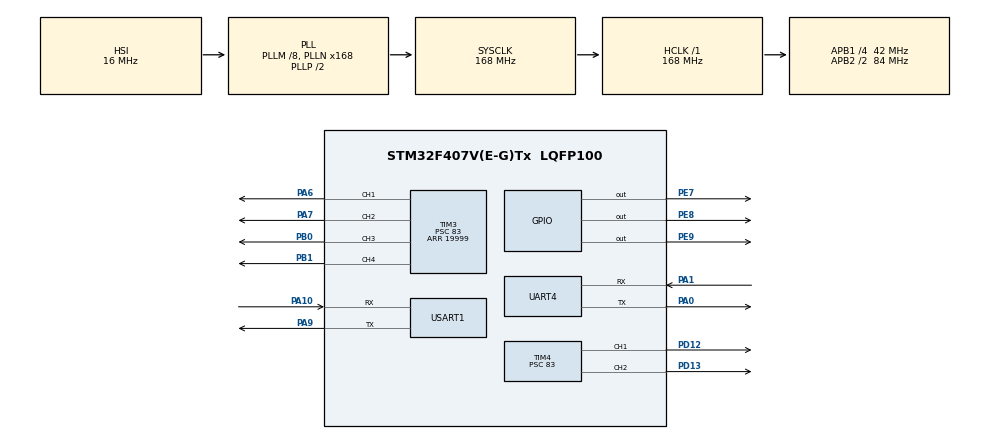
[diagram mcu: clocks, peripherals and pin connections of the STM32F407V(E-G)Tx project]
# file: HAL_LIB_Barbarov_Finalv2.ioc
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Mcu.Family=STM32F4
Mcu.Name=STM32F407V(E-G)Tx
Mcu.Package=LQFP100
NVIC.PriorityGroup=NVIC_PRIORITYGROUP_4
NVIC.UART4_IRQn=true\:0\:0\:false\:false\:true\:true\:true
NVIC.USART1_IRQn=true\:0\:0\:false\:false\:true\:true\:true
PA0-WKUP.Mode=Asynchronous
PA0-WKUP.Signal=UART4_TX
PA1.Mode=Asynchronous
PA1.Signal=UART4_RX
PA10.Mode=Asynchronous
PA10.Signal=USART1_RX
PA6.Signal=S_TIM3_CH1
PA7.Signal=S_TIM3_CH2
PA9.Mode=Asynchronous
PA9.Signal=USART1_TX
PB0.Signal=S_TIM3_CH3
PB1.Signal=S_TIM3_CH4
PD12.Signal=S_TIM4_CH1
PD13.Signal=S_TIM4_CH2
PE7.Signal=GPIO_Output
PE8.Signal=GPIO_Output
PE9.Signal=GPIO_Output
ProjectManager.HeapSize=0x200
ProjectManager.StackSize=0x400
ProjectManager.TargetToolchain=STM32CubeIDE
RCC.48MHZClocksFreq_Value=84000000
RCC.AHBFreq_Value=168000000
RCC.APB1CLKDivider=RCC_HCLK_DIV4
RCC.APB1Freq_Value=42000000
RCC.APB1TimFreq_Value=84000000
RCC.APB2CLKDivider=RCC_HCLK_DIV2
RCC.APB2Freq_Value=84000000
RCC.APB2TimFreq_Value=168000000
RCC.CortexFreq_Value=168000000
RCC.HCLKFreq_Value=168000000
RCC.HSE_VALUE=25000000
RCC.HSI_VALUE=16000000
RCC.LSE_VALUE=32768
RCC.PLLM=8
RCC.PLLN=168
RCC.SYSCLKFreq_VALUE=168000000
RCC.SYSCLKSource=RCC_SYSCLKSOURCE_PLLCLK
RCC.VCOOutputFreq_Value=336000000
SH.S_TIM3_CH1.0=TIM3_CH1,PWM Generation1 CH1
SH.S_TIM3_CH2.0=TIM3_CH2,PWM Generation2 CH2
SH.S_TIM3_CH3.0=TIM3_CH3,PWM Generation3 CH3
SH.S_TIM3_CH4.0=TIM3_CH4,PWM Generation4 CH4
SH.S_TIM4_CH1.0=TIM4_CH1,PWM Generation1 CH1
SH.S_TIM4_CH2.0=TIM4_CH2,PWM Generation2 CH2
TIM3.Channel-PWM\ Generation1\ CH1=TIM_CHANNEL_1
TIM3.Channel-PWM\ Generation2\ CH2=TIM_CHANNEL_2
TIM3.Channel-PWM\ Generation3\ CH3=TIM_CHANNEL_3
TIM3.Channel-PWM\ Generation4\ CH4=TIM_CHANNEL_4
TIM3.Period=19999
TIM3.Prescaler=83
TIM4.Channel-PWM\ Generation1\ CH1=TIM_CHANNEL_1
TIM4.Channel-PWM\ Generation2\ CH2=TIM_CHANNEL_2
TIM4.Period=19999
TIM4.Prescaler=83
UART4.VirtualMode=Asynchronous
USART1.VirtualMode=VM_ASYNC
board=custom

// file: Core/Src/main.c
/* USER CODE BEGIN Header */
/**
  ******************************************************************************
  * @file           : main.c
  * @brief          : Main program body
  ******************************************************************************
  * @attention
  *
  * Copyright (c) 2022 STMicroelectronics.
  * All rights reserved.
  *
  * This software is licensed under terms that can be found in the LICENSE file
  * in the root directory of this software component.
  * If no LICENSE file comes with this software, it is provided AS-IS.
  *
  ******************************************************************************
  */
/* USER CODE END Header */
#include "main.h"

/* USER CODE BEGIN Includes */
#include "stdlib.h"
#include "string.h"
/* USER CODE END Includes */

TIM_HandleTypeDef htim3;
TIM_HandleTypeDef htim4;

UART_HandleTypeDef huart4;
UART_HandleTypeDef huart1;

/* USER CODE BEGIN PV */
uint8_t test;
int donusum;
char gelen[8];
/* USER CODE END PV */

void SystemClock_Config(void);
static void MX_GPIO_Init(void);
static void MX_TIM3_Init(void);
static void MX_TIM4_Init(void);
static void MX_USART1_UART_Init(void);
static void MX_UART4_Init(void);

/* USER CODE BEGIN 0 */
void dur(){
	__HAL_TIM_SET_COMPARE(&htim3, TIM_CHANNEL_1, 1500);
	__HAL_TIM_SET_COMPARE(&htim3, TIM_CHANNEL_2, 1500);
	__HAL_TIM_SET_COMPARE(&htim3, TIM_CHANNEL_3, 1500);
	__HAL_TIM_SET_COMPARE(&htim3, TIM_CHANNEL_4, 1500);
	__HAL_TIM_SET_COMPARE(&htim4, TIM_CHANNEL_1, 1500);
	__HAL_TIM_SET_COMPARE(&htim4, TIM_CHANNEL_2, 1500);
	}
void ilr(){
	donusum = atoi(gelen);
	__HAL_TIM_SET_COMPARE(&htim3, TIM_CHANNEL_1, 1500-abs(1500-donusum));
	__HAL_TIM_SET_COMPARE(&htim3, TIM_CHANNEL_2, donusum);
	__HAL_TIM_SET_COMPARE(&htim3, TIM_CHANNEL_3, 1500-abs(1500-donusum));
	__HAL_TIM_SET_COMPARE(&htim3, TIM_CHANNEL_4, donusum);
	__HAL_TIM_SET_COMPARE(&htim4, TIM_CHANNEL_1, 1550);
	__HAL_TIM_SET_COMPARE(&htim4, TIM_CHANNEL_2, 1550);
}
void ger(){
	donusum = atoi(gelen);
	__HAL_TIM_SET_COMPARE(&htim3, TIM_CHANNEL_1, donusum);
	__HAL_TIM_SET_COMPARE(&htim3, TIM_CHANNEL_2, 1500-abs(1500-donusum));
	__HAL_TIM_SET_COMPARE(&htim3, TIM_CHANNEL_3, donusum);
	__HAL_TIM_SET_COMPARE(&htim3, TIM_CHANNEL_4, 1500-abs(1500-donusum));
	__HAL_TIM_SET_COMPARE(&htim4, TIM_CHANNEL_1, 1550);
	__HAL_TIM_SET_COMPARE(&htim4, TIM_CHANNEL_2, 1550);
}
void ykr(){
	donusum = atoi(gelen);
	__HAL_TIM_SET_COMPARE(&htim3, TIM_CHANNEL_1, 1500);
	__HAL_TIM_SET_COMPARE(&htim3, TIM_CHANNEL_2, 1500);
	__HAL_TIM_SET_COMPARE(&htim3, TIM_CHANNEL_3, 1500);
	__HAL_TIM_SET_COMPARE(&htim3, TIM_CHANNEL_4, 1500);
	__HAL_TIM_SET_COMPARE(&htim4, TIM_CHANNEL_1, 1500-abs(1500-donusum));
	__HAL_TIM_SET_COMPARE(&htim4, TIM_CHANNEL_2, 1500-abs(1500-donusum));
}
void asg(){
	donusum = atoi(gelen);
	__HAL_TIM_SET_COMPARE(&htim3, TIM_CHANNEL_1, 1500);
	__HAL_TIM_SET_COMPARE(&htim3, TIM_CHANNEL_2, 1500);
	__HAL_TIM_SET_COMPARE(&htim3, TIM_CHANNEL_3, 1500);
	__HAL_TIM_SET_COMPARE(&htim3, TIM_CHANNEL_4, 1500);
	__HAL_TIM_SET_COMPARE(&htim4, TIM_CHANNEL_1, donusum);
	__HAL_TIM_SET_COMPARE(&htim4, TIM_CHANNEL_2, donusum);
}
void sag(){
	donusum = atoi(gelen);
	__HAL_TIM_SET_COMPARE(&htim3, TIM_CHANNEL_1, donusum);
	__HAL_TIM_SET_COMPARE(&htim3, TIM_CHANNEL_2, donusum);
	__HAL_TIM_SET_COMPARE(&htim3, TIM_CHANNEL_3, 1500-abs(1500-donusum));
	__HAL_TIM_SET_COMPARE(&htim3, TIM_CHANNEL_4, 1500-abs(1500-donusum));
	__HAL_TIM_SET_COMPARE(&htim4, TIM_CHANNEL_1, 1550);
	__HAL_TIM_SET_COMPARE(&htim4, TIM_CHANNEL_2, 1550);
}
void sol(){
	donusum = atoi(gelen);
	__HAL_TIM_SET_COMPARE(&htim3, TIM_CHANNEL_1, 1500-abs(1500-donusum));
	__HAL_TIM_SET_COMPARE(&htim3, TIM_CHANNEL_2, 1500-abs(1500-donusum));
	__HAL_TIM_SET_COMPARE(&htim3, TIM_CHANNEL_3, donusum);
	__HAL_TIM_SET_COMPARE(&htim3, TIM_CHANNEL_4, donusum);
	__HAL_TIM_SET_COMPARE(&htim4, TIM_CHANNEL_1, 1550);
	__HAL_TIM_SET_COMPARE(&htim4, TIM_CHANNEL_2, 1550);
}
/*
void duz(){	// ileri-geri hareket **ileri >1500
	donusum = atoi(gelen);
	__HAL_TIM_SET_COMPARE(&htim3, TIM_CHANNEL_1, donusum);
	__HAL_TIM_SET_COMPARE(&htim3, TIM_CHANNEL_2, donusum);
	__HAL_TIM_SET_COMPARE(&htim3, TIM_CHANNEL_3, donusum);
	__HAL_TIM_SET_COMPARE(&htim3, TIM_CHANNEL_4, donusum);
	__HAL_TIM_SET_COMPARE(&htim4, TIM_CHANNEL_1, 1500);
	__HAL_TIM_SET_COMPARE(&htim4, TIM_CHANNEL_2, 1500);
	HAL_GPIO_WritePin(GPIOE, GPIO_PIN_7, GPIO_PIN_SET);
	HAL_GPIO_WritePin(GPIOE, GPIO_PIN_8 | GPIO_PIN_9 , GPIO_PIN_RESET);
}
void yty(){	// sag-sol hareket **sag>1500
	donusum = atoi(gelen);
	if (donusum > 1500){
	__HAL_TIM_SET_COMPARE(&htim3, TIM_CHANNEL_2, donusum);
	__HAL_TIM_SET_COMPARE(&htim3, TIM_CHANNEL_3, donusum);
	__HAL_TIM_SET_COMPARE(&htim3, TIM_CHANNEL_1, 1500-abs(1500-donusum));
	__HAL_TIM_SET_COMPARE(&htim3, TIM_CHANNEL_4, 1500-abs(1500-donusum));
	__HAL_TIM_SET_COMPARE(&htim4, TIM_CHANNEL_1, 1500);
	__HAL_TIM_SET_COMPARE(&htim4, TIM_CHANNEL_2, 1500);
	}
	else if(donusum < 1500){
		__HAL_TIM_SET_COMPARE(&htim3, TIM_CHANNEL_1, donusum);
		__HAL_TIM_SET_COMPARE(&htim3, TIM_CHANNEL_4, donusum);
		__HAL_TIM_SET_COMPARE(&htim3, TIM_CHANNEL_2, 1500-abs(1500-donusum));
		__HAL_TIM_SET_COMPARE(&htim3, TIM_CHANNEL_3, 1500-abs(1500-donusum));
		__HAL_TIM_SET_COMPARE(&htim4, TIM_CHANNEL_1, 1500);
		__HAL_TIM_SET_COMPARE(&htim4, TIM_CHANNEL_2, 1500);
	}
	HAL_GPIO_WritePin(GPIOE, GPIO_PIN_8, GPIO_PIN_SET);
	HAL_GPIO_WritePin(GPIOE, GPIO_PIN_7 | GPIO_PIN_9 , GPIO_PIN_RESET);
}
void dky(){	// yukarı-asagi hareket **yukarı>1500
	donusum = atoi(gelen);
	if (donusum > 1500){
		__HAL_TIM_SET_COMPARE(&htim4, TIM_CHANNEL_1, donusum);
		__HAL_TIM_SET_COMPARE(&htim4, TIM_CHANNEL_2, 1500-abs(1500-donusum));
		__HAL_TIM_SET_COMPARE(&htim3, TIM_CHANNEL_1, 1500);
		__HAL_TIM_SET_COMPARE(&htim3, TIM_CHANNEL_2, 1500);
		__HAL_TIM_SET_COMPARE(&htim3, TIM_CHANNEL_3, 1500);
		__HAL_TIM_SET_COMPARE(&htim3, TIM_CHANNEL_4, 1500);
	}
	else if (donusum < 1500){
		__HAL_TIM_SET_COMPARE(&htim4, TIM_CHANNEL_1, 1500-abs(1500-donusum));
		__HAL_TIM_SET_COMPARE(&htim4, TIM_CHANNEL_2, donusum);
		__HAL_TIM_SET_COMPARE(&htim3, TIM_CHANNEL_1, 1500);
		__HAL_TIM_SET_COMPARE(&htim3, TIM_CHANNEL_2, 1500);
		__HAL_TIM_SET_COMPARE(&htim3, TIM_CHANNEL_3, 1500);
		__HAL_TIM_SET_COMPARE(&htim3, TIM_CHANNEL_4, 1500);
	}
	HAL_GPIO_WritePin(GPIOE, GPIO_PIN_9, GPIO_PIN_SET);
	HAL_GPIO_WritePin(GPIOE, GPIO_PIN_7 | GPIO_PIN_8 , GPIO_PIN_RESET);
}*/
/* USER CODE END 0 */

int main(void)
{

  /* MCU Configuration--------------------------------------------------------*/

  /* Reset of all peripherals, Initializes the Flash interface and the Systick. */
  HAL_Init();

  /* Configure the system clock */
  SystemClock_Config();

  /* Initialize all configured peripherals */
  MX_GPIO_Init();
  MX_TIM3_Init();
  MX_TIM4_Init();
  MX_USART1_UART_Init();
  MX_UART4_Init();
  /* USER CODE BEGIN 2 */
  HAL_TIM_PWM_Start(&htim3, TIM_CHANNEL_1);
  HAL_TIM_PWM_Start(&htim3, TIM_CHANNEL_2);
  HAL_TIM_PWM_Start(&htim3, TIM_CHANNEL_3);
  HAL_TIM_PWM_Start(&htim3, TIM_CHANNEL_4);
  HAL_TIM_PWM_Start(&htim4, TIM_CHANNEL_1);
  HAL_TIM_PWM_Start(&htim4, TIM_CHANNEL_2);
  __HAL_TIM_SET_COMPARE(&htim3, TIM_CHANNEL_1, 1500);
  __HAL_TIM_SET_COMPARE(&htim3, TIM_CHANNEL_2, 1500);
  __HAL_TIM_SET_COMPARE(&htim3, TIM_CHANNEL_3, 1500);
  __HAL_TIM_SET_COMPARE(&htim3, TIM_CHANNEL_4, 1500);
  __HAL_TIM_SET_COMPARE(&htim4, TIM_CHANNEL_1, 1500);
  __HAL_TIM_SET_COMPARE(&htim4, TIM_CHANNEL_2, 1500);
  HAL_Delay(7000);
  /* USER CODE END 2 */

  /* Infinite loop */
  while (1)
  {

    /* USER CODE BEGIN 3 */
	  HAL_UART_Receive_IT(&huart1, (uint8_t*) gelen, 8);
	  //HAL_UART_Transmit_IT(&huart4, (uint8_t*) gelen, 8);

	  if(gelen[5] == 'd' && gelen[6] == 'u' && gelen[7] == 'r'){
		  dur();
	  }
	  else if(gelen[5] == 'i' && gelen[6] == 'l' && gelen[7] == 'r') {
		  ilr();
	  }
	  else if(gelen[5] == 'g' && gelen[6] == 'e' && gelen[7] == 'r') {
		  ger();
	  }
	  else if(gelen[5] == 'y' && gelen[6] == 'k' && gelen[7] == 'r') {
		  ykr();
	  }
	  else if(gelen[5] == 'a' && gelen[6] == 's' && gelen[7] == 'g') {
		  asg();
	  }
	  else if(gelen[5] == 's' && gelen[6] == 'a' && gelen[7] == 'g') {
		  sag();
	  }
	  else if(gelen[5] == 's' && gelen[6] == 'o' && gelen[7] == 'l') {
		  sol();
	  }

	/*  else if(gelen[5] == 's' && gelen[6] == 'g' && gelen[7] == 'd') {
		  sgd();
	  }
	  else if(gelen[5] == 's' && gelen[6] == 'l' && gelen[7] == 'd') {
		  sld();
	  }*/
  }
  /* USER CODE END 3 */
}

void SystemClock_Config(void)
{
  RCC_OscInitTypeDef RCC_OscInitStruct = {0};
  RCC_ClkInitTypeDef RCC_ClkInitStruct = {0};

  /** Configure the main internal regulator output voltage
  */
  __HAL_RCC_PWR_CLK_ENABLE();
  __HAL_PWR_VOLTAGESCALING_CONFIG(PWR_REGULATOR_VOLTAGE_SCALE1);
  /** Initializes the RCC Oscillators according to the specified parameters
  * in the RCC_OscInitTypeDef structure.
  */
  RCC_OscInitStruct.OscillatorType = RCC_OSCILLATORTYPE_HSI;
  RCC_OscInitStruct.HSIState = RCC_HSI_ON;
  RCC_OscInitStruct.HSICalibrationValue = RCC_HSICALIBRATION_DEFAULT;
  RCC_OscInitStruct.PLL.PLLState = RCC_PLL_ON;
  RCC_OscInitStruct.PLL.PLLSource = RCC_PLLSOURCE_HSI;
  RCC_OscInitStruct.PLL.PLLM = 8;
  RCC_OscInitStruct.PLL.PLLN = 168;
  RCC_OscInitStruct.PLL.PLLP = RCC_PLLP_DIV2;
  RCC_OscInitStruct.PLL.PLLQ = 4;
  if (HAL_RCC_OscConfig(&RCC_OscInitStruct) != HAL_OK)
  {
    Error_Handler();
  }
  /** Initializes the CPU, AHB and APB buses clocks
  */
  RCC_ClkInitStruct.ClockType = RCC_CLOCKTYPE_HCLK|RCC_CLOCKTYPE_SYSCLK
                              |RCC_CLOCKTYPE_PCLK1|RCC_CLOCKTYPE_PCLK2;
  RCC_ClkInitStruct.SYSCLKSource = RCC_SYSCLKSOURCE_PLLCLK;
  RCC_ClkInitStruct.AHBCLKDivider = RCC_SYSCLK_DIV1;
  RCC_ClkInitStruct.APB1CLKDivider = RCC_HCLK_DIV4;
  RCC_ClkInitStruct.APB2CLKDivider = RCC_HCLK_DIV2;

  if (HAL_RCC_ClockConfig(&RCC_ClkInitStruct, FLASH_LATENCY_5) != HAL_OK)
  {
    Error_Handler();
  }
}

static void MX_TIM3_Init(void)
{

  TIM_MasterConfigTypeDef sMasterConfig = {0};
  TIM_OC_InitTypeDef sConfigOC = {0};

  htim3.Instance = TIM3;
  htim3.Init.Prescaler = 83;
  htim3.Init.CounterMode = TIM_COUNTERMODE_UP;
  htim3.Init.Period = 19999;
  htim3.Init.ClockDivision = TIM_CLOCKDIVISION_DIV1;
  htim3.Init.AutoReloadPreload = TIM_AUTORELOAD_PRELOAD_DISABLE;
  if (HAL_TIM_PWM_Init(&htim3) != HAL_OK)
  {
    Error_Handler();
  }
  sMasterConfig.MasterOutputTrigger = TIM_TRGO_RESET;
  sMasterConfig.MasterSlaveMode = TIM_MASTERSLAVEMODE_DISABLE;
  if (HAL_TIMEx_MasterConfigSynchronization(&htim3, &sMasterConfig) != HAL_OK)
  {
    Error_Handler();
  }
  sConfigOC.OCMode = TIM_OCMODE_PWM1;
  sConfigOC.Pulse = 0;
  sConfigOC.OCPolarity = TIM_OCPOLARITY_HIGH;
  sConfigOC.OCFastMode = TIM_OCFAST_DISABLE;
  if (HAL_TIM_PWM_ConfigChannel(&htim3, &sConfigOC, TIM_CHANNEL_1) != HAL_OK)
  {
    Error_Handler();
  }
  if (HAL_TIM_PWM_ConfigChannel(&htim3, &sConfigOC, TIM_CHANNEL_2) != HAL_OK)
  {
    Error_Handler();
  }
  if (HAL_TIM_PWM_ConfigChannel(&htim3, &sConfigOC, TIM_CHANNEL_3) != HAL_OK)
  {
    Error_Handler();
  }
  if (HAL_TIM_PWM_ConfigChannel(&htim3, &sConfigOC, TIM_CHANNEL_4) != HAL_OK)
  {
    Error_Handler();
  }
  HAL_TIM_MspPostInit(&htim3);

}

static void MX_TIM4_Init(void)
{

  TIM_MasterConfigTypeDef sMasterConfig = {0};
  TIM_OC_InitTypeDef sConfigOC = {0};

  htim4.Instance = TIM4;
  htim4.Init.Prescaler = 83;
  htim4.Init.CounterMode = TIM_COUNTERMODE_UP;
  htim4.Init.Period = 19999;
  htim4.Init.ClockDivision = TIM_CLOCKDIVISION_DIV1;
  htim4.Init.AutoReloadPreload = TIM_AUTORELOAD_PRELOAD_DISABLE;
  if (HAL_TIM_PWM_Init(&htim4) != HAL_OK)
  {
    Error_Handler();
  }
  sMasterConfig.MasterOutputTrigger = TIM_TRGO_RESET;
  sMasterConfig.MasterSlaveMode = TIM_MASTERSLAVEMODE_DISABLE;
  if (HAL_TIMEx_MasterConfigSynchronization(&htim4, &sMasterConfig) != HAL_OK)
  {
    Error_Handler();
  }
  sConfigOC.OCMode = TIM_OCMODE_PWM1;
  sConfigOC.Pulse = 0;
  sConfigOC.OCPolarity = TIM_OCPOLARITY_HIGH;
  sConfigOC.OCFastMode = TIM_OCFAST_DISABLE;
  if (HAL_TIM_PWM_ConfigChannel(&htim4, &sConfigOC, TIM_CHANNEL_1) != HAL_OK)
  {
    Error_Handler();
  }
  if (HAL_TIM_PWM_ConfigChannel(&htim4, &sConfigOC, TIM_CHANNEL_2) != HAL_OK)
  {
    Error_Handler();
  }
  HAL_TIM_MspPostInit(&htim4);

}

static void MX_UART4_Init(void)
{

  huart4.Instance = UART4;
  huart4.Init.BaudRate = 115200;
  huart4.Init.WordLength = UART_WORDLENGTH_8B;
  huart4.Init.StopBits = UART_STOPBITS_1;
  huart4.Init.Parity = UART_PARITY_NONE;
  huart4.Init.Mode = UART_MODE_TX_RX;
  huart4.Init.HwFlowCtl = UART_HWCONTROL_NONE;
  huart4.Init.OverSampling = UART_OVERSAMPLING_16;
  if (HAL_UART_Init(&huart4) != HAL_OK)
  {
    Error_Handler();
  }

}

static void MX_USART1_UART_Init(void)
{

  huart1.Instance = USART1;
  huart1.Init.BaudRate = 115200;
  huart1.Init.WordLength = UART_WORDLENGTH_8B;
  huart1.Init.StopBits = UART_STOPBITS_1;
  huart1.Init.Parity = UART_PARITY_NONE;
  huart1.Init.Mode = UART_MODE_TX_RX;
  huart1.Init.HwFlowCtl = UART_HWCONTROL_NONE;
  huart1.Init.OverSampling = UART_OVERSAMPLING_16;
  if (HAL_UART_Init(&huart1) != HAL_OK)
  {
    Error_Handler();
  }

}

static void MX_GPIO_Init(void)
{
  GPIO_InitTypeDef GPIO_InitStruct = {0};

  /* GPIO Ports Clock Enable */
  __HAL_RCC_GPIOA_CLK_ENABLE();
  __HAL_RCC_GPIOB_CLK_ENABLE();
  __HAL_RCC_GPIOE_CLK_ENABLE();
  __HAL_RCC_GPIOD_CLK_ENABLE();

  /*Configure GPIO pin Output Level */
  HAL_GPIO_WritePin(GPIOE, GPIO_PIN_7|GPIO_PIN_8|GPIO_PIN_9, GPIO_PIN_RESET);

  /*Configure GPIO pins : PE7 PE8 PE9 */
  GPIO_InitStruct.Pin = GPIO_PIN_7|GPIO_PIN_8|GPIO_PIN_9;
  GPIO_InitStruct.Mode = GPIO_MODE_OUTPUT_PP;
  GPIO_InitStruct.Pull = GPIO_NOPULL;
  GPIO_InitStruct.Speed = GPIO_SPEED_FREQ_LOW;
  HAL_GPIO_Init(GPIOE, &GPIO_InitStruct);

}

void Error_Handler(void)
{
  __disable_irq();
  while (1)
  {
  }
}
